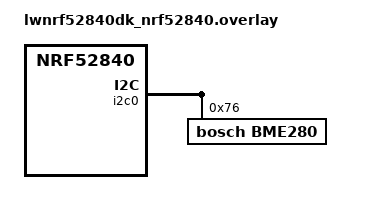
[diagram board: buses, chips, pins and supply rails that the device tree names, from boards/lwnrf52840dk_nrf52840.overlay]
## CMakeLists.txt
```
cmake_minimum_required(VERSION 3.20.0)
find_package(Zephyr REQUIRED HINTS $ENV{ZEPHYR_BASE})
project(bme280_read)
target_sources(app PRIVATE src/test_bme280.c)
```

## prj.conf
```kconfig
CONFIG_ZTEST=y
CONFIG_I2C=y
CONFIG_SENSOR=y
CONFIG_BME280=y

# LabWired's Cortex-M4 core returns 0 for MPU TYPE.DREGION (no regions),
# so mpu_configure_static_mpu_regions always fails with -EINVAL.  The
# resulting __ASSERT(0,...) → svc-2 → no-op cycle repeats on every kernel
# interrupt and prevents the firmware from completing init.  Disable the MPU
# driver entirely so the simulator boots to main() without the assertion loop.
CONFIG_ARM_MPU=n
CONFIG_HW_STACK_PROTECTION=n
```

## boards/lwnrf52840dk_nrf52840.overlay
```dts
/*
 * Simulator boot fix: the board DTS sets gpio-as-nreset on the UICR node
 * which defines CONFIG_GPIO_AS_PINRESET at compile time.  SystemInit then
 * writes UICR.PSELRESET and calls NVIC_SystemReset() if the registers read
 * as 0xFFFFFFFF — which they always do in LabWired's UICR model because
 * flash-erase values are never persisted across simulated resets.  The result
 * is an infinite boot loop before any UART output is produced.
 *
 * Deleting the property here removes CONFIG_GPIO_AS_PINRESET from the build,
 * so SystemInit skips the PSELRESET write-and-reset sequence.  The reset pin
 * is only relevant on real silicon; the simulator does not need it.
 */
&uicr {
    /delete-property/ gpio-as-nreset;
};

&i2c0 {
    status = "okay";
    bme280@76 {
        compatible = "bosch,bme280";
        reg = <0x76>;
    };
};
```

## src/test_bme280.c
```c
#include <zephyr/ztest.h>
#include <zephyr/device.h>
#include <zephyr/drivers/sensor.h>

ZTEST_SUITE(bme280_read, NULL, NULL, NULL, NULL, NULL);

/* Prove the DTS overlay was applied: the bosch,bme280 node must exist in the
   final devicetree, regardless of whether the simulator models the device.
   This assertion fails if the overlay is missing or the build configuration is
   wrong — making the test load-bearing for the full DTS -> build pipeline. */
ZTEST(bme280_read, test_device_node_in_dts)
{
    const struct device *dev = DEVICE_DT_GET_ANY(bosch_bme280);
    zassert_not_null(dev, "no bosch,bme280 node in devicetree: DTS overlay not applied");
    TC_PRINT("BME280 DTS node found; device_is_ready: %d\n", device_is_ready(dev));
}

/* Read temperature from the live BME280 model.  With i2c0 modeled as
   nrf52840_serial the Nrf52SerialInstance mux is instantiated and the BME280
   is attached, so device_is_ready() MUST return true.  A silent skip here
   would mask the very regression this test was introduced to catch. */
ZTEST(bme280_read, test_fetch_temperature_in_range)
{
    const struct device *dev = DEVICE_DT_GET_ANY(bosch_bme280);
    zassert_not_null(dev, "BME280 device node not found in DTS");
    zassert_true(device_is_ready(dev),
                 "BME280 must be ready now that i2c0 is modeled as nrf52840_serial");
    zassert_ok(sensor_sample_fetch(dev), "sensor_sample_fetch failed");

    struct sensor_value temp;
    zassert_ok(sensor_channel_get(dev, SENSOR_CHAN_AMBIENT_TEMP, &temp),
               "sensor_channel_get(TEMP) failed");
    /* A live BME280 read is never exactly zero across both fields; reject a
       dead/zero model that reports fetch success but returns no data. */
    zassert_false(temp.val1 == 0 && temp.val2 == 0, "dead/zero temperature read");
    /* BME280 operating range is -40..85 C; assert a plausible non-extreme read
       so a dead/zero model would fail rather than pass. */
    zassert_true(temp.val1 > -40 && temp.val1 < 85,
                 "temperature %d C out of plausible range", temp.val1);
}
```
